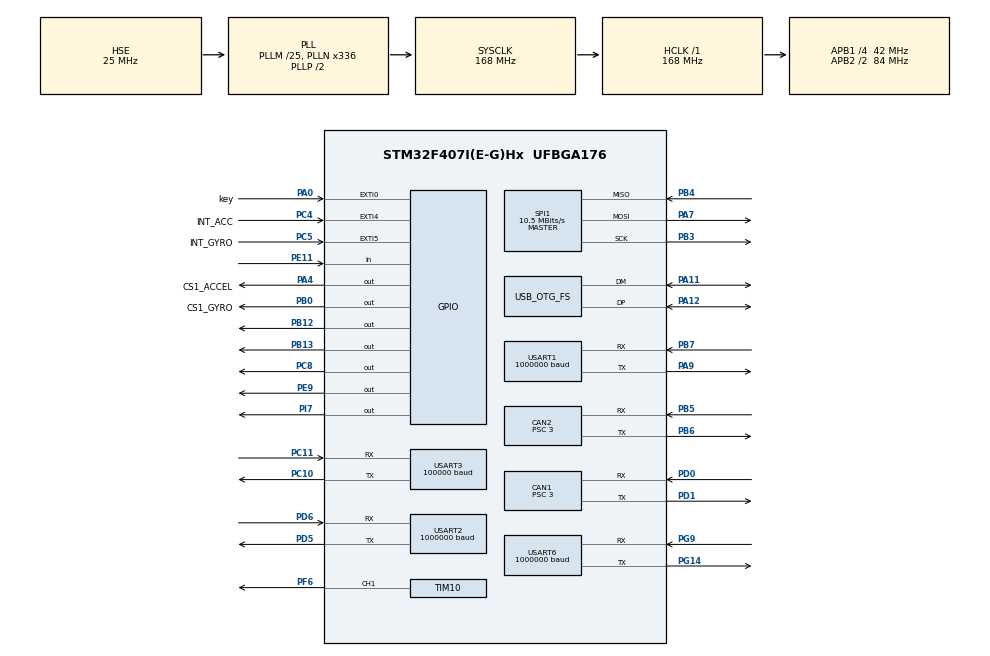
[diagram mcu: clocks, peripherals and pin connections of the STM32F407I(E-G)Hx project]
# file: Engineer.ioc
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CAN1.BS1=CAN_BS1_10TQ
CAN1.BS2=CAN_BS2_3TQ
CAN1.CalculateBaudRate=1000000
CAN1.CalculateTimeBit=1000
CAN1.CalculateTimeQuantum=71.42857142857143
CAN1.Prescaler=3
CAN2.BS1=CAN_BS1_10TQ
CAN2.BS2=CAN_BS2_3TQ
CAN2.CalculateBaudRate=1000000
CAN2.CalculateTimeBit=1000
CAN2.CalculateTimeQuantum=71.42857142857143
CAN2.Prescaler=3
Dma.Request0=USART3_RX
Dma.Request1=SPI1_RX
Dma.Request2=SPI1_TX
Dma.Request3=USART1_RX
Dma.SPI1_RX.1.Direction=DMA_PERIPH_TO_MEMORY
Dma.SPI1_RX.1.FIFOMode=DMA_FIFOMODE_ENABLE
Dma.SPI1_RX.1.FIFOThreshold=DMA_FIFO_THRESHOLD_FULL
Dma.SPI1_RX.1.Instance=DMA2_Stream0
Dma.SPI1_RX.1.MemBurst=DMA_MBURST_SINGLE
Dma.SPI1_RX.1.MemDataAlignment=DMA_MDATAALIGN_BYTE
Dma.SPI1_RX.1.MemInc=DMA_MINC_ENABLE
Dma.SPI1_RX.1.Mode=DMA_NORMAL
Dma.SPI1_RX.1.PeriphBurst=DMA_PBURST_SINGLE
Dma.SPI1_RX.1.PeriphDataAlignment=DMA_PDATAALIGN_BYTE
Dma.SPI1_RX.1.PeriphInc=DMA_PINC_DISABLE
Dma.SPI1_RX.1.Priority=DMA_PRIORITY_LOW
Dma.SPI1_TX.2.Direction=DMA_MEMORY_TO_PERIPH
Dma.SPI1_TX.2.FIFOMode=DMA_FIFOMODE_DISABLE
Dma.SPI1_TX.2.Instance=DMA2_Stream3
Dma.SPI1_TX.2.MemDataAlignment=DMA_MDATAALIGN_BYTE
Dma.SPI1_TX.2.MemInc=DMA_MINC_ENABLE
Dma.SPI1_TX.2.Mode=DMA_NORMAL
Dma.SPI1_TX.2.PeriphDataAlignment=DMA_PDATAALIGN_BYTE
Dma.SPI1_TX.2.PeriphInc=DMA_PINC_DISABLE
Dma.SPI1_TX.2.Priority=DMA_PRIORITY_LOW
Dma.USART1_RX.3.Direction=DMA_PERIPH_TO_MEMORY
Dma.USART1_RX.3.FIFOMode=DMA_FIFOMODE_DISABLE
Dma.USART1_RX.3.Instance=DMA2_Stream2
Dma.USART1_RX.3.MemDataAlignment=DMA_MDATAALIGN_BYTE
Dma.USART1_RX.3.MemInc=DMA_MINC_ENABLE
Dma.USART1_RX.3.Mode=DMA_CIRCULAR
Dma.USART1_RX.3.PeriphDataAlignment=DMA_PDATAALIGN_BYTE
Dma.USART1_RX.3.PeriphInc=DMA_PINC_DISABLE
Dma.USART1_RX.3.Priority=DMA_PRIORITY_LOW
Dma.USART3_RX.0.Direction=DMA_PERIPH_TO_MEMORY
Dma.USART3_RX.0.FIFOMode=DMA_FIFOMODE_DISABLE
Dma.USART3_RX.0.Instance=DMA1_Stream1
Dma.USART3_RX.0.MemDataAlignment=DMA_MDATAALIGN_BYTE
Dma.USART3_RX.0.MemInc=DMA_MINC_ENABLE
Dma.USART3_RX.0.Mode=DMA_CIRCULAR
Dma.USART3_RX.0.PeriphDataAlignment=DMA_PDATAALIGN_BYTE
Dma.USART3_RX.0.PeriphInc=DMA_PINC_DISABLE
Dma.USART3_RX.0.Priority=DMA_PRIORITY_HIGH
FREERTOS.INCLUDE_vTaskDelayUntil=1
FREERTOS.Tasks01=ImuTask,1,512,ImuTask_f,Default,NULL,Dynamic,NULL,NULL;ChassisTask,1,512,ChassisTask_f,Default,NULL,Dynamic,NULL,NULL;UsbTask,1,512,Usb_f,Default,NULL,Dynamic,NULL,NULL;ArmTask,1,512,ArmTask_f,Default,NULL,Dynamic,NULL,NULL
FREERTOS.configENABLE_FPU=1
FREERTOS.configMAX_TASK_NAME_LEN=32
FREERTOS.configTOTAL_HEAP_SIZE=20000
FREERTOS.configUSE_COUNTING_SEMAPHORES=1
Mcu.Family=STM32F4
Mcu.Name=STM32F407I(E-G)Hx
Mcu.Package=UFBGA176
NVIC.CAN1_RX0_IRQn=true\:5\:0\:false\:false\:true\:true\:true\:true\:true
NVIC.CAN1_RX1_IRQn=true\:5\:0\:false\:false\:true\:true\:true\:true\:true
NVIC.CAN2_RX0_IRQn=true\:5\:0\:false\:false\:true\:true\:true\:true\:true
NVIC.CAN2_RX1_IRQn=true\:5\:0\:false\:false\:true\:true\:true\:true\:true
NVIC.DMA1_Stream1_IRQn=true\:5\:0\:false\:false\:true\:true\:false\:true\:true
NVIC.DMA2_Stream0_IRQn=true\:5\:0\:false\:false\:true\:true\:false\:true\:true
NVIC.DMA2_Stream2_IRQn=true\:5\:0\:false\:false\:true\:true\:false\:true\:true
NVIC.DMA2_Stream3_IRQn=true\:5\:0\:false\:false\:true\:true\:false\:true\:true
NVIC.OTG_FS_IRQn=true\:5\:0\:false\:false\:true\:true\:false\:true\:true
NVIC.PriorityGroup=NVIC_PRIORITYGROUP_4
NVIC.SPI1_IRQn=true\:5\:0\:false\:false\:true\:true\:true\:true\:true
NVIC.TIM8_TRG_COM_TIM14_IRQn=true\:15\:0\:false\:false\:true\:false\:false\:true\:true
NVIC.TimeBase=TIM8_TRG_COM_TIM14_IRQn
NVIC.TimeBaseIP=TIM14
PA0-WKUP.GPIO_Label=key
PA0-WKUP.Signal=GPXTI0
PA11.Mode=Device_Only
PA11.Signal=USB_OTG_FS_DM
PA12.Mode=Device_Only
PA12.Signal=USB_OTG_FS_DP
PA13.Mode=Serial_Wire
PA13.Signal=SYS_JTMS-SWDIO
PA14.Mode=Serial_Wire
PA14.Signal=SYS_JTCK-SWCLK
PA4.GPIO_Label=CS1_ACCEL
PA4.GPIO_PuPd=GPIO_PULLUP
PA4.GPIO_Speed=GPIO_SPEED_FREQ_HIGH
PA4.PinState=GPIO_PIN_SET
PA4.Signal=GPIO_Output
PA7.GPIO_PuPd=GPIO_PULLUP
PA7.Mode=Full_Duplex_Master
PA7.Signal=SPI1_MOSI
PA9.Mode=Asynchronous
PA9.Signal=USART1_TX
PB0.GPIO_Label=CS1_GYRO
PB0.GPIO_PuPd=GPIO_PULLUP
PB0.GPIO_Speed=GPIO_SPEED_FREQ_HIGH
PB0.PinState=GPIO_PIN_SET
PB0.Signal=GPIO_Output
PB12.Signal=GPIO_Output
PB13.PinState=GPIO_PIN_RESET
PB13.Signal=GPIO_Output
PB14.GPIO_Label=DI
PB14.Signal=SPI2_MISO
PB15.GPIO_Label=DO
PB15.Signal=SPI2_MOSI
PB3.GPIO_PuPd=GPIO_PULLUP
PB3.Mode=Full_Duplex_Master
PB3.Signal=SPI1_SCK
PB4.GPIO_PuPd=GPIO_PULLUP
PB4.Mode=Full_Duplex_Master
PB4.Signal=SPI1_MISO
PB5.Mode=CAN_Activate
PB5.Signal=CAN2_RX
PB6.Mode=CAN_Activate
PB6.Signal=CAN2_TX
PB7.Mode=Asynchronous
PB7.Signal=USART1_RX
PC10.Mode=Asynchronous
PC10.Signal=USART3_TX
PC11.Mode=Asynchronous
PC11.Signal=USART3_RX
PC4.GPIO_Label=INT_ACC
PC4.GPIO_ModeDefaultEXTI=GPIO_MODE_IT_FALLING
PC4.Signal=GPXTI4
PC5.GPIO_Label=INT_GYRO
PC5.GPIO_ModeDefaultEXTI=GPIO_MODE_IT_FALLING
PC5.Signal=GPXTI5
PC8.Signal=GPIO_Output
PD0.Mode=CAN_Activate
PD0.Signal=CAN1_RX
PD1.Mode=CAN_Activate
PD1.Signal=CAN1_TX
PD5.Mode=Asynchronous
PD5.Signal=USART2_TX
PD6.Mode=Asynchronous
PD6.Signal=USART2_RX
PE11.Signal=GPIO_Input
PE9.Signal=GPIO_Output
PF6.Signal=S_TIM10_CH1
PG14.Mode=Asynchronous
PG14.Signal=USART6_TX
PG9.Mode=Asynchronous
PG9.Signal=USART6_RX
PH0-OSC_IN.Mode=HSE-External-Oscillator
PH0-OSC_IN.Signal=RCC_OSC_IN
PH1-OSC_OUT.Mode=HSE-External-Oscillator
PH1-OSC_OUT.Signal=RCC_OSC_OUT
PI7.Signal=GPIO_Output
ProjectManager.HeapSize=0x8000
ProjectManager.StackSize=0x8000
ProjectManager.TargetToolchain=MDK-ARM V5.32
RCC.48MHZClocksFreq_Value=48000000
RCC.AHBFreq_Value=168000000
RCC.APB1CLKDivider=RCC_HCLK_DIV4
RCC.APB1Freq_Value=42000000
RCC.APB1TimFreq_Value=84000000
RCC.APB2CLKDivider=RCC_HCLK_DIV2
RCC.APB2Freq_Value=84000000
RCC.APB2TimFreq_Value=168000000
RCC.CortexFreq_Value=168000000
RCC.HCLKFreq_Value=168000000
RCC.HSE_VALUE=25000000
RCC.HSI_VALUE=16000000
RCC.LSE_VALUE=32768
RCC.PLLM=25
RCC.PLLN=336
RCC.PLLQ=7
RCC.SYSCLKFreq_VALUE=168000000
RCC.SYSCLKSource=RCC_SYSCLKSOURCE_PLLCLK
RCC.VCOOutputFreq_Value=336000000
SH.S_TIM10_CH1.0=TIM10_CH1,PWM Generation1 CH1
SPI1.BaudRatePrescaler=SPI_BAUDRATEPRESCALER_8
SPI1.CLKPhase=SPI_PHASE_2EDGE
SPI1.CLKPolarity=SPI_POLARITY_HIGH
SPI1.CalculateBaudRate=10.5 MBits/s
SPI1.Direction=SPI_DIRECTION_2LINES
SPI1.Mode=SPI_MODE_MASTER
SPI1.VirtualType=VM_MASTER
STMicroelectronics.X-CUBE-ALGOBUILD.1.4.0.LibraryCcDSPOoLibraryJjDSPOoLibrary=true
TIM10.Channel=TIM_CHANNEL_1
TIM10.Period=50000
TIM10.Prescaler=168-1
USART1.BaudRate=1000000
USART1.VirtualMode=VM_ASYNC
USART2.BaudRate=1000000
USART2.VirtualMode=VM_ASYNC
USART3.BaudRate=100000
USART3.Parity=PARITY_EVEN
USART3.VirtualMode=VM_ASYNC
USART3.WordLength=WORDLENGTH_8B
USART6.BaudRate=1000000
USART6.VirtualMode=VM_ASYNC
USB_DEVICE.CLASS_NAME_FS=CDC
USB_DEVICE.VirtualMode-CDC_FS=Cdc
USB_DEVICE.VirtualModeFS=Cdc_FS
USB_OTG_FS.VirtualMode=Device_Only
VP_FREERTOS_VS_CMSIS_V1.Mode=CMSIS_V1
VP_STMicroelectronics.X-CUBE-ALGOBUILD_VS_DSPOoLibraryJjLibrary_1.4.0_1.4.0.Mode=DSPOoLibraryJjLibrary
VP_SYS_VS_tim14.Mode=TIM14
VP_TIM10_VS_ClockSourceINT.Mode=Enable_Timer
VP_USB_DEVICE_VS_USB_DEVICE_CDC_FS.Mode=CDC_FS
board=custom

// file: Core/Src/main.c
/* USER CODE BEGIN Header */
/**
  ******************************************************************************
  * @file           : main.c
  * @brief          : Main program body
  ******************************************************************************
  * @attention
  *
  * Copyright (c) 2024 STMicroelectronics.
  * All rights reserved.
  *
  * This software is licensed under terms that can be found in the LICENSE file
  * in the root directory of this software component.
  * If no LICENSE file comes with this software, it is provided AS-IS.
  *
  ******************************************************************************
  */
/* USER CODE END Header */
#include "main.h"
#include "cmsis_os.h"
#include "can.h"
#include "dma.h"
#include "spi.h"
#include "tim.h"
#include "usart.h"
#include "usb_device.h"
#include "gpio.h"

/* USER CODE BEGIN Includes */
#include "chassis.h"
#include "arm.h"
#include "shoot.h"
#include "Test.h"
#include "remote.h"
/* USER CODE END Includes */

void SystemClock_Config(void);
void MX_FREERTOS_Init(void);

int main(void)
{

  /* MCU Configuration--------------------------------------------------------*/

  /* Reset of all peripherals, Initializes the Flash interface and the Systick. */
  HAL_Init();

  /* Configure the system clock */
  SystemClock_Config();

  /* Initialize all configured peripherals */
  MX_GPIO_Init();
  MX_DMA_Init();
  MX_CAN1_Init();
  MX_CAN2_Init();
  MX_USART3_UART_Init();
  MX_SPI1_Init();
  MX_TIM10_Init();
  MX_USART1_UART_Init();
  MX_USART6_UART_Init();
  MX_USART2_UART_Init();
  /* USER CODE BEGIN 2 */
  all_init_Task();

  /* USER CODE END 2 */

  /* Call init function for freertos objects (in cmsis_os2.c) */
  MX_FREERTOS_Init();

  /* Start scheduler */
  osKernelStart();

  /* We should never get here as control is now taken by the scheduler */

  /* Infinite loop */
  while (1)
  {
	}

  }

void SystemClock_Config(void)
{
  RCC_OscInitTypeDef RCC_OscInitStruct = {0};
  RCC_ClkInitTypeDef RCC_ClkInitStruct = {0};

  /** Configure the main internal regulator output voltage
  */
  __HAL_RCC_PWR_CLK_ENABLE();
  __HAL_PWR_VOLTAGESCALING_CONFIG(PWR_REGULATOR_VOLTAGE_SCALE1);

  /** Initializes the RCC Oscillators according to the specified parameters
  * in the RCC_OscInitTypeDef structure.
  */
  RCC_OscInitStruct.OscillatorType = RCC_OSCILLATORTYPE_HSE;
  RCC_OscInitStruct.HSEState = RCC_HSE_ON;
  RCC_OscInitStruct.PLL.PLLState = RCC_PLL_ON;
  RCC_OscInitStruct.PLL.PLLSource = RCC_PLLSOURCE_HSE;
  RCC_OscInitStruct.PLL.PLLM = 25;
  RCC_OscInitStruct.PLL.PLLN = 336;
  RCC_OscInitStruct.PLL.PLLP = RCC_PLLP_DIV2;
  RCC_OscInitStruct.PLL.PLLQ = 7;
  if (HAL_RCC_OscConfig(&RCC_OscInitStruct) != HAL_OK)
  {
    Error_Handler();
  }

  /** Initializes the CPU, AHB and APB buses clocks
  */
  RCC_ClkInitStruct.ClockType = RCC_CLOCKTYPE_HCLK|RCC_CLOCKTYPE_SYSCLK
                              |RCC_CLOCKTYPE_PCLK1|RCC_CLOCKTYPE_PCLK2;
  RCC_ClkInitStruct.SYSCLKSource = RCC_SYSCLKSOURCE_PLLCLK;
  RCC_ClkInitStruct.AHBCLKDivider = RCC_SYSCLK_DIV1;
  RCC_ClkInitStruct.APB1CLKDivider = RCC_HCLK_DIV4;
  RCC_ClkInitStruct.APB2CLKDivider = RCC_HCLK_DIV2;

  if (HAL_RCC_ClockConfig(&RCC_ClkInitStruct, FLASH_LATENCY_5) != HAL_OK)
  {
    Error_Handler();
  }
}

void HAL_TIM_PeriodElapsedCallback(TIM_HandleTypeDef *htim)
{
  if (htim->Instance == TIM14)
  {
    HAL_IncTick();
  }
}

void Error_Handler(void)
{
  __disable_irq();
  while (1)
  {
  }
}

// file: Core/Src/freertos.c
/* USER CODE BEGIN Header */
/**
  ******************************************************************************
  * File Name          : freertos.c
  * Description        : Code for freertos applications
  ******************************************************************************
  * @attention
  *
  * Copyright (c) 2024 STMicroelectronics.
  * All rights reserved.
  *
  * This software is licensed under terms that can be found in the LICENSE file
  * in the root directory of this software component.
  * If no LICENSE file comes with this software, it is provided AS-IS.
  *
  ******************************************************************************
  */
/* USER CODE END Header */

#include "FreeRTOS.h"
#include "task.h"
#include "main.h"
#include "cmsis_os.h"

/* USER CODE BEGIN Includes */
#include "chassis.h"
#include "arm.h"
#include "shoot.h"
#include "ins_task.h"
#include "DJI_motor.h"
#include "usb.h"
#include "Test.h"
/* USER CODE END Includes */

osThreadId ImuTaskHandle;
osThreadId ChassisTaskHandle;
osThreadId UsbTaskHandle;
osThreadId ArmTaskHandle;

void ImuTask_f(void const * argument);
void ChassisTask_f(void const * argument);
void Usb_f(void const * argument);
void ArmTask_f(void const * argument);

extern void MX_USB_DEVICE_Init(void);
void MX_FREERTOS_Init(void); /* (MISRA C 2004 rule 8.1) */

/* GetIdleTaskMemory prototype (linked to static allocation support) */
void vApplicationGetIdleTaskMemory( StaticTask_t **ppxIdleTaskTCBBuffer, StackType_t **ppxIdleTaskStackBuffer, uint32_t *pulIdleTaskStackSize );

/* USER CODE BEGIN GET_IDLE_TASK_MEMORY */
static StaticTask_t xIdleTaskTCBBuffer;
static StackType_t xIdleStack[configMINIMAL_STACK_SIZE];

void vApplicationGetIdleTaskMemory( StaticTask_t **ppxIdleTaskTCBBuffer, StackType_t **ppxIdleTaskStackBuffer, uint32_t *pulIdleTaskStackSize )
{
  *ppxIdleTaskTCBBuffer = &xIdleTaskTCBBuffer;
  *ppxIdleTaskStackBuffer = &xIdleStack[0];
  *pulIdleTaskStackSize = configMINIMAL_STACK_SIZE;
  /* place for user code */
}
/* USER CODE END GET_IDLE_TASK_MEMORY */

void MX_FREERTOS_Init(void) {

  /* Create the thread(s) */
  /* definition and creation of ImuTask */
  osThreadDef(ImuTask, ImuTask_f, osPriorityAboveNormal, 0, 512);
  ImuTaskHandle = osThreadCreate(osThread(ImuTask), NULL);

  /* definition and creation of ChassisTask */
  osThreadDef(ChassisTask, ChassisTask_f, osPriorityAboveNormal, 0, 512);
  ChassisTaskHandle = osThreadCreate(osThread(ChassisTask), NULL);

  /* definition and creation of UsbTask */
  osThreadDef(UsbTask, Usb_f, osPriorityAboveNormal, 0, 512);
  UsbTaskHandle = osThreadCreate(osThread(UsbTask), NULL);

  /* definition and creation of ArmTask */
  osThreadDef(ArmTask, ArmTask_f, osPriorityAboveNormal, 0, 512);
  ArmTaskHandle = osThreadCreate(osThread(ArmTask), NULL);

}

void ImuTask_f(void const * argument)
{
  /* init code for USB_DEVICE */
  MX_USB_DEVICE_Init();
  /* USER CODE BEGIN ImuTask_f */
  /* Infinite loop */
  for(;;)
  {
		INS_Task();
    osDelay(1);
  }
  /* USER CODE END ImuTask_f */
}

void ChassisTask_f(void const * argument)
{
  /* USER CODE BEGIN ChassisTask_f */
  /* Infinite loop */
  for(;;){
    all_cmd_Task();
    osDelay(2);
  }
  /* USER CODE END ChassisTask_f */
}

void Usb_f(void const * argument)
{
  /* USER CODE BEGIN Usb_f */
  /* Infinite loop */
  for(;;)
  {
	USB_ProcessTask();
//    osDelay(1);
  }
  /* USER CODE END Usb_f */
}

void ArmTask_f(void const * argument)
{
  /* USER CODE BEGIN ArmTask_f */
  /* Infinite loop */
  for(;;)
  {
//     ArmTask();
osDelay(1);
  }
  /* USER CODE END ArmTask_f */
}
